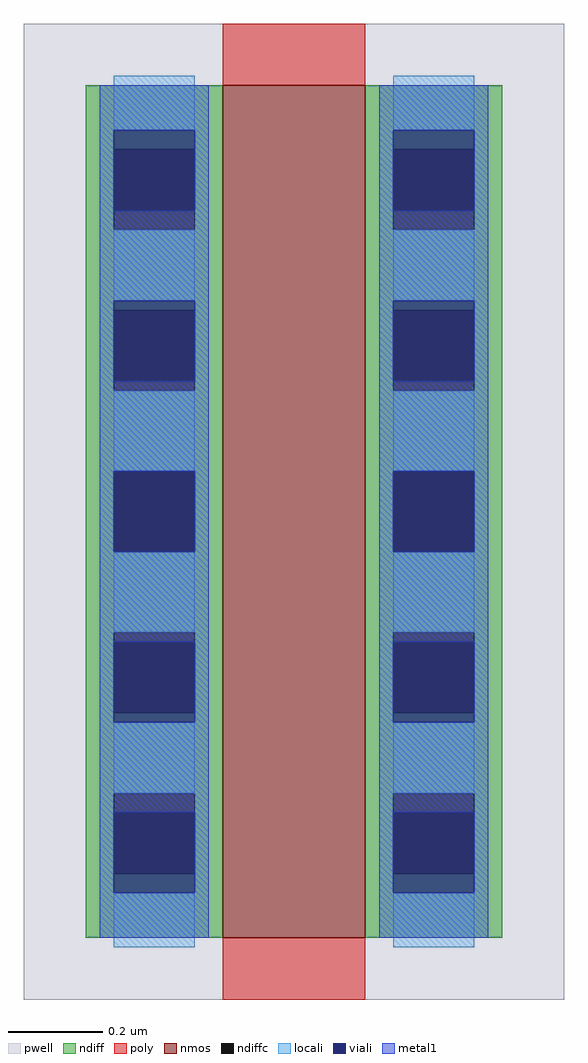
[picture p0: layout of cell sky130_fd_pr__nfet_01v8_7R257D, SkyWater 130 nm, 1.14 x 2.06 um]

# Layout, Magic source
magic
tech sky130A
magscale 1 2
<< pwell >>
rect -114 -206 114 206
<< nmos >>
rect -30 -180 30 180
<< ndiff >>
rect -88 153 -30 180
rect -88 119 -76 153
rect -42 119 -30 153
rect -88 85 -30 119
rect -88 51 -76 85
rect -42 51 -30 85
rect -88 17 -30 51
rect -88 -17 -76 17
rect -42 -17 -30 17
rect -88 -51 -30 -17
rect -88 -85 -76 -51
rect -42 -85 -30 -51
rect -88 -119 -30 -85
rect -88 -153 -76 -119
rect -42 -153 -30 -119
rect -88 -180 -30 -153
rect 30 153 88 180
rect 30 119 42 153
rect 76 119 88 153
rect 30 85 88 119
rect 30 51 42 85
rect 76 51 88 85
rect 30 17 88 51
rect 30 -17 42 17
rect 76 -17 88 17
rect 30 -51 88 -17
rect 30 -85 42 -51
rect 76 -85 88 -51
rect 30 -119 88 -85
rect 30 -153 42 -119
rect 76 -153 88 -119
rect 30 -180 88 -153
<< ndiffc >>
rect -76 119 -42 153
rect -76 51 -42 85
rect -76 -17 -42 17
rect -76 -85 -42 -51
rect -76 -153 -42 -119
rect 42 119 76 153
rect 42 51 76 85
rect 42 -17 76 17
rect 42 -85 76 -51
rect 42 -153 76 -119
<< poly >>
rect -30 180 30 206
rect -30 -206 30 -180
<< locali >>
rect -76 161 -42 184
rect -76 89 -42 119
rect -76 17 -42 51
rect -76 -51 -42 -17
rect -76 -119 -42 -89
rect -76 -184 -42 -161
rect 42 161 76 184
rect 42 89 76 119
rect 42 17 76 51
rect 42 -51 76 -17
rect 42 -119 76 -89
rect 42 -184 76 -161
<< viali >>
rect -76 153 -42 161
rect -76 127 -42 153
rect -76 85 -42 89
rect -76 55 -42 85
rect -76 -17 -42 17
rect -76 -85 -42 -55
rect -76 -89 -42 -85
rect -76 -153 -42 -127
rect -76 -161 -42 -153
rect 42 153 76 161
rect 42 127 76 153
rect 42 85 76 89
rect 42 55 76 85
rect 42 -17 76 17
rect 42 -85 76 -55
rect 42 -89 76 -85
rect 42 -153 76 -127
rect 42 -161 76 -153
<< metal1 >>
rect -82 161 -36 180
rect -82 127 -76 161
rect -42 127 -36 161
rect -82 89 -36 127
rect -82 55 -76 89
rect -42 55 -36 89
rect -82 17 -36 55
rect -82 -17 -76 17
rect -42 -17 -36 17
rect -82 -55 -36 -17
rect -82 -89 -76 -55
rect -42 -89 -36 -55
rect -82 -127 -36 -89
rect -82 -161 -76 -127
rect -42 -161 -36 -127
rect -82 -180 -36 -161
rect 36 161 82 180
rect 36 127 42 161
rect 76 127 82 161
rect 36 89 82 127
rect 36 55 42 89
rect 76 55 82 89
rect 36 17 82 55
rect 36 -17 42 17
rect 76 -17 82 17
rect 36 -55 82 -17
rect 36 -89 42 -55
rect 76 -89 82 -55
rect 36 -127 82 -89
rect 36 -161 42 -127
rect 76 -161 82 -127
rect 36 -180 82 -161
<< end >>
